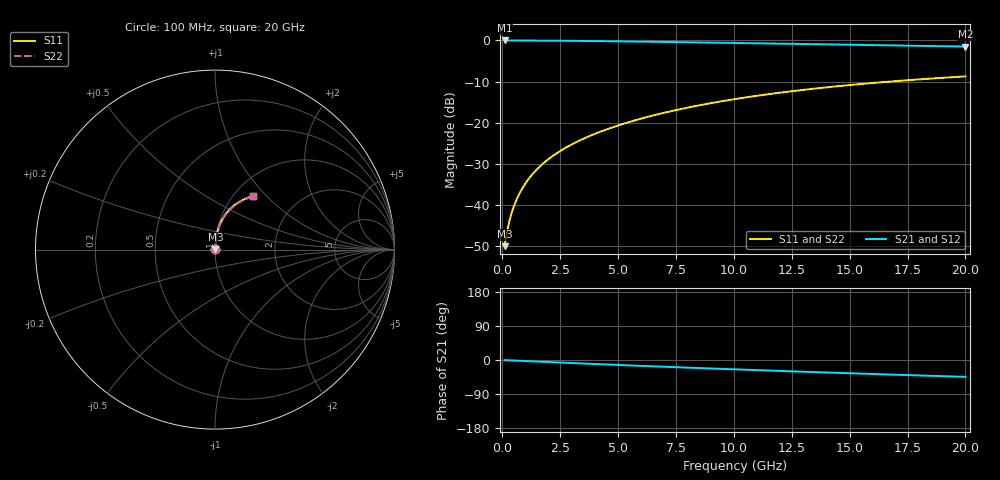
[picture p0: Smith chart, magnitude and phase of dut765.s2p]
! Touchstone file exported from HFSS 2024.1.0
!  File:  C:/UserFiles/LocalFiles/RDL_TSV_Batchsim/temp_RDL_top_765_1779852378.aedt
!  Generated:  11:28:20 AM May 27, 2026
!  Design:  RDL_top
!  Project:  temp_RDL_top_765_1779852378
!  Setup:  Setup1
!  Solution:  Sweep
! Variables:
!  dtsv = 10.80580581um
!  hbump = 3um
!  htsv = 62.93um
!  ldown = 100um
!  lrdl = 675.97um
!  p = 40
!  p1 = 45.93um
!  rhole = 1um
!  t = 450um
!  tdown = 3.915915916um
!  trdl = 4.97um
!  wdown = 15.38538539um
!  wrdl = 20.86um
# GHz S MA R 50.000000
! Terminal data exported
! Port[1] = Box2_T1
! Port[2] = Box2_T2
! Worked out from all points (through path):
!   200 points, 100 MHz to 20 GHz, reference 50 ohm
!   highest |S21| = -0.02 dB at 100 MHz (marker M1); lowest = -1.5 dB at 20 GHz (marker M2)
!   group delay of S21, straight-line fit = 6.13 ps
!   lowest |S11| = -49.9 dB at 100 MHz (marker M3), VSWR 1.01, Z = 50.2 + j0.202 ohm
!   |S11| at or under -10 dB: start of sweep to 16.73 GHz
!   |S22| runs from -49.9 to -8.8 dB; largest |S21 - S12| = 1.9e-14
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0.1  0.003188 39.2  0.9975 -0.3  0.9975 -0.3  0.003188 39.2
! Gamma 0 0 0 0
! Port Impedance 50 0 50 0
0.2  0.004714 56.0  0.9973 -0.6  0.9973 -0.6  0.004714 55.9
0.3  0.006352 64.0  0.9971 -0.8  0.9971 -0.8  0.006352 64.0
0.4  0.00802 68.9  0.997 -1.1  0.997 -1.1  0.008021 68.9
0.5  0.009713 72.2  0.9968 -1.4  0.9968 -1.4  0.009714 72.2
0.6  0.01143 74.6  0.9967 -1.6  0.9967 -1.6  0.01143 74.5
0.8  0.01491 77.7  0.9963 -2.2  0.9963 -2.2  0.01491 77.7
1.1  0.0202 80.4  0.9956 -3.0  0.9956 -3.0  0.0202 80.4
1.5  0.02736 82.2  0.9944 -4.1  0.9944 -4.1  0.02735 82.2
1.8  0.03276 83.0  0.9934 -4.9  0.9934 -4.9  0.03276 82.9
2.1  0.0382 83.4  0.9921 -5.7  0.9921 -5.7  0.03819 83.3
2.7  0.04919 83.8  0.9892 -7.3  0.9892 -7.3  0.04916 83.7
3.5  0.06407 83.7  0.9844 -9.3  0.9844 -9.3  0.06402 83.6
4.2  0.07733 83.4  0.9797 -11.1  0.9797 -11.1  0.07725 83.2
5  0.09279 82.7  0.9738 -13.1  0.9738 -13.1  0.09265 82.5
6.8  0.1285 80.3  0.9591 -17.4  0.9591 -17.4  0.1283 80.2
8.4  0.1609 77.6  0.9451 -21.1  0.9451 -21.1  0.1605 77.5
10.1  0.195 74.4  0.9299 -24.8  0.9299 -24.8  0.1945 74.2
11.7  0.2264 71.2  0.9154 -28.3  0.9154 -28.3  0.2257 71.0
13.4  0.2584 67.7  0.8999 -31.8  0.8999 -31.8  0.2576 67.5
16.7  0.3157 60.9  0.8701 -38.3  0.8701 -38.3  0.3146 60.7
20  0.3657 54.5  0.841 -44.5  0.841 -44.5  0.3644 54.3
